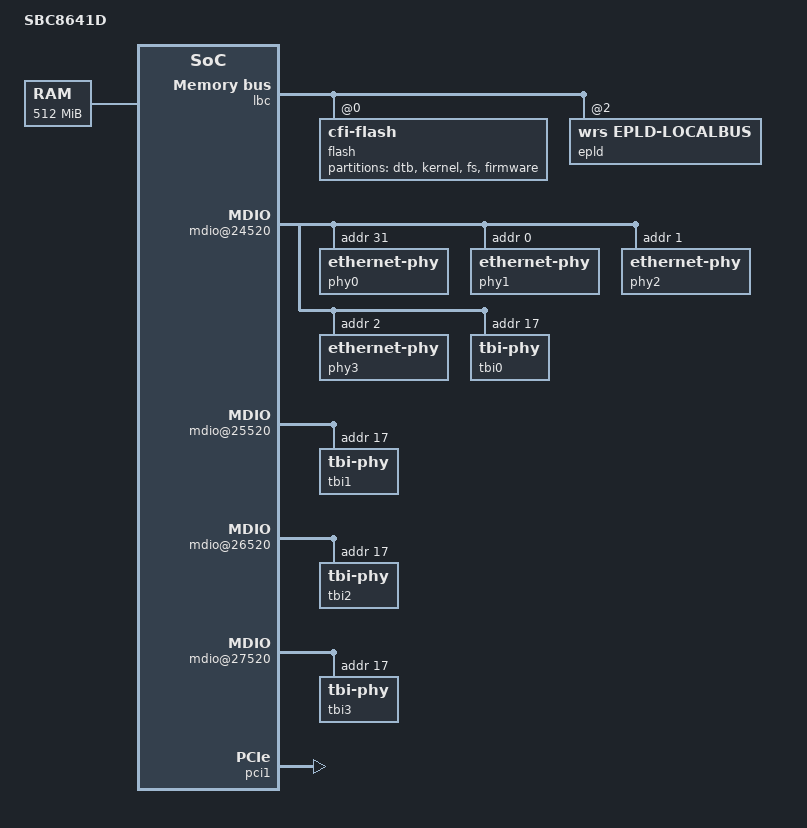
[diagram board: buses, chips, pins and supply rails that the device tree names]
/*
 * SBC8641D Device Tree Source
 *
 * Copyright 2008 Wind River Systems Inc.
 *
 * Paul Gortmaker (see MAINTAINERS for contact information)
 *
 * Based largely on the mpc8641_hpcn.dts by Freescale Semiconductor Inc.
 *
 * This program is free software; you can redistribute  it and/or modify it
 * under  the terms of  the GNU General  Public License as published by the
 * Free Software Foundation;  either version 2 of the  License, or (at your
 * option) any later version.
 */

/include/ "mpc8641si-pre.dtsi"

/ {
	model = "SBC8641D";
	compatible = "wind,sbc8641";

	aliases {
		pci1 = &pci1;
	};

	memory {
		device_type = "memory";
		reg = <0x00000000 0x20000000>;	// 512M at 0x0
	};

	lbc: localbus@f8005000 {
		reg = <0xf8005000 0x1000>;

		ranges = <0 0 0xff000000 0x01000000	// 16MB Boot flash
			  1 0 0xf0000000 0x00010000	// 64KB EEPROM
			  2 0 0xf1000000 0x00100000	// EPLD (1MB)
			  3 0 0xe0000000 0x04000000	// 64MB LB SDRAM (CS3)
			  4 0 0xe4000000 0x04000000	// 64MB LB SDRAM (CS4)
			  6 0 0xf4000000 0x00100000	// LCD display (1MB)
			  7 0 0xe8000000 0x04000000>;	// 64MB OneNAND

		flash@0,0 {
			compatible = "cfi-flash";
			reg = <0 0 0x01000000>;
			bank-width = <2>;
			device-width = <2>;
			#address-cells = <1>;
			#size-cells = <1>;
			partition@0 {
				label = "dtb";
				reg = <0x00000000 0x00100000>;
				read-only;
			};
			partition@300000 {
				label = "kernel";
				reg = <0x00100000 0x00400000>;
				read-only;
			};
			partition@400000 {
				label = "fs";
				reg = <0x00500000 0x00a00000>;
			};
			partition@700000 {
				label = "firmware";
				reg = <0x00f00000 0x00100000>;
				read-only;
			};
		};

		epld@2,0 {
			compatible = "wrs,epld-localbus";
			#address-cells = <2>;
			#size-cells = <1>;
			reg = <2 0 0x100000>;
			ranges = <0 0 5 0 1	// User switches
				  1 0 5 1 1	// Board ID/Rev
				  3 0 5 3 1>;	// LEDs
		};
	};

	soc: soc@f8000000 {
		ranges = <0x00000000 0xf8000000 0x00100000>;

		enet0: ethernet@24000 {
			tbi-handle = <&tbi0>;
			phy-handle = <&phy0>;
			phy-connection-type = "rgmii-id";
		};

		mdio@24520 {
			phy0: ethernet-phy@1f {
				reg = <0x1f>;
			};
			phy1: ethernet-phy@0 {
				reg = <0>;
			};
			phy2: ethernet-phy@1 {
				reg = <1>;
			};
			phy3: ethernet-phy@2 {
				reg = <2>;
			};
			tbi0: tbi-phy@11 {
				reg = <0x11>;
				device_type = "tbi-phy";
			};
		};

		enet1: ethernet@25000 {
			tbi-handle = <&tbi1>;
			phy-handle = <&phy1>;
			phy-connection-type = "rgmii-id";
		};

		mdio@25520 {
			tbi1: tbi-phy@11 {
				reg = <0x11>;
				device_type = "tbi-phy";
			};
		};

		enet2: ethernet@26000 {
			tbi-handle = <&tbi2>;
			phy-handle = <&phy2>;
			phy-connection-type = "rgmii-id";
		};

		mdio@26520 {
			tbi2: tbi-phy@11 {
				reg = <0x11>;
				device_type = "tbi-phy";
			};
		};

		enet3: ethernet@27000 {
			tbi-handle = <&tbi3>;
			phy-handle = <&phy3>;
			phy-connection-type = "rgmii-id";
		};

		mdio@27520 {
			tbi3: tbi-phy@11 {
				reg = <0x11>;
				device_type = "tbi-phy";
			};
		};
	};

	pci0: pcie@f8008000 {
		reg = <0xf8008000 0x1000>;
		ranges = <0x02000000 0x0 0x80000000 0x80000000 0x0 0x20000000
			  0x01000000 0x0 0x00000000 0xe2000000 0x0 0x00100000>;
		interrupt-map-mask = <0xff00 0 0 7>;

		pcie@0 {
			ranges = <0x02000000 0x0 0x80000000
				  0x02000000 0x0 0x80000000
				  0x0 0x20000000

				  0x01000000 0x0 0x00000000
				  0x01000000 0x0 0x00000000
				  0x0 0x00100000>;
		};

	};

	pci1: pcie@f8009000 {
		compatible = "fsl,mpc8641-pcie";
		device_type = "pci";
		#size-cells = <2>;
		#address-cells = <3>;
		reg = <0xf8009000 0x1000>;
		bus-range = <0 0xff>;
		ranges = <0x02000000 0x0 0xa0000000 0xa0000000 0x0 0x20000000
			  0x01000000 0x0 0x00000000 0xe3000000 0x0 0x00100000>;
		clock-frequency = <100000000>;
		interrupts = <25 2 0 0>;
		interrupt-map-mask = <0xf800 0 0 7>;
		interrupt-map = <
			/* IDSEL 0x0 */
			0x0000 0 0 1 &mpic 4 1
			0x0000 0 0 2 &mpic 5 1
			0x0000 0 0 3 &mpic 6 1
			0x0000 0 0 4 &mpic 7 1
			>;

		pcie@0 {
			reg = <0 0 0 0 0>;
			#size-cells = <2>;
			#address-cells = <3>;
			device_type = "pci";
			ranges = <0x02000000 0x0 0xa0000000
				  0x02000000 0x0 0xa0000000
				  0x0 0x20000000

				  0x01000000 0x0 0x00000000
				  0x01000000 0x0 0x00000000
				  0x0 0x00100000>;
		};
	};
};

/include/ "mpc8641si-post.dtsi"
